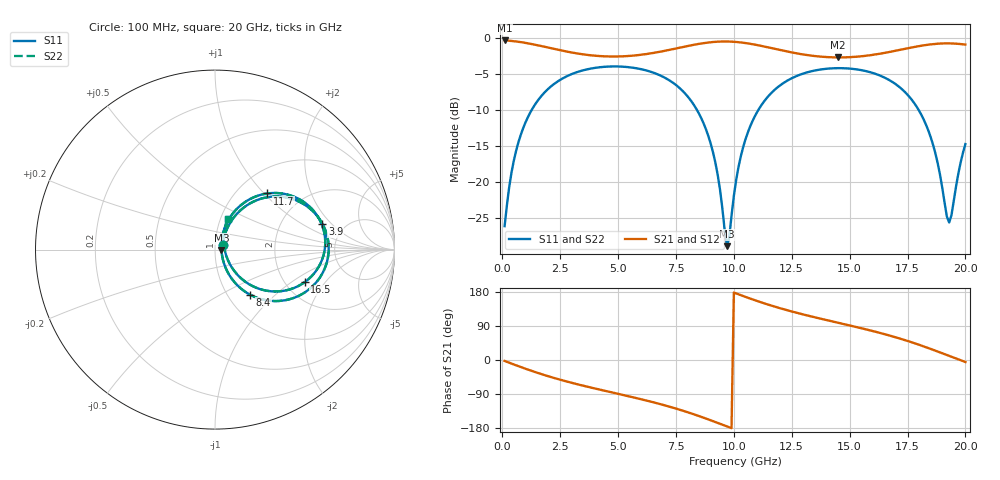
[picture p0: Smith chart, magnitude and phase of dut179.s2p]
! Touchstone file exported from HFSS 2026.1.0
!  File:  C:/ffzhzh/LocalFiles/Ansys_Project_Files/temp_train_TSV_RDL_179_1783056523_36532.aedt
!  Generated:  01:51:07 PM Jul  3, 2026
!  Design:  TSV_RDL
!  Project:  temp_train_TSV_RDL_179_1783056523_36532
! Variables:
!  h_bsmrdl = 2.33um
!  h_ox = 20um
!  h_rdl = 5um
!  h_sub = 75.29um
!  h_tmrdl = 5.93um
!  h_tsv = 75.29um
!  h_via = 3um
!  l_bsmrdl = 978.32um
!  l_sub = 6134um
!  l_tmrdl = 671.14um
!  m_sub = 200um
!  pitch = 55.44um
!  r_tsv = 2.21um
!  s_tmrdl = 10um
!  w_bsmrdl = 26.99um
!  w_sub = 500um
!  w_tmrdl = 11.17um
!  x_tsv_center1 = 676.725um
!  x_tsv_center2 = 1682.035um
!  x_tsv_center3 = 2364.345um
!  x_tsv_center4 = 3369.655um
!  x_tsv_center5 = 4051.965um
!  x_tsv_center6 = 5057.275um
# GHz S MA R 50.000000
! Terminal data exported
! Port[1] = TM_RDL1_1_T1
! Port[2] = TM_RDL5_1_T1
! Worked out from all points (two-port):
!   200 points, 100 MHz to 20 GHz, reference 50 ohm
!   highest |S21| = -0.37 dB at 100 MHz (marker M1); lowest = -2.7 dB at 14.5 GHz (marker M2)
!   |S21| within 3 dB of the highest: start of sweep to end of sweep
!   lowest |S11| = -28.9 dB at 9.7 GHz (marker M3), VSWR 1.07, Z = 53.7 - j0.324 ohm
!   |S11| at or under -10 dB: start of sweep to 1.269 GHz; 8.409 GHz to 11.06 GHz (2.648 GHz wide, 27.2 % of centre); 17.98 GHz to end of sweep
!   |S22| runs from -28.8 to -4.0 dB; largest |S21 - S12| = 1.8e-14
!   S11 on the Smith chart (normalised r, x): 100 MHz: 1.09, +0.06; 3.9 GHz: 3.41, +1.58; 8.4 GHz: 1.26, -0.71; 11.7 GHz: 1.36, +1.04; 16.5 GHz: 2.53, -1.28; 20 GHz: 1.08, +0.38
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0.1  0.04966 32.1  0.9587 -2.4  0.9587 -2.4  0.04966 32.1
! Gamma 0 0 0 0
! Port Impedance 50 0 50 0
0.5  0.1417 60.2  0.9472 -11.8  0.9472 -11.8  0.1417 60.2
1.1  0.281 55.8  0.9164 -25.1  0.9164 -25.1  0.2809 55.8
2.2  0.4743 38.4  0.8403 -46.8  0.8403 -46.8  0.4743 38.4
3.5  0.5963 19.0  0.7678 -67.9  0.7678 -67.9  0.5963 19.0
3.9  0.6155 13.6  0.7545 -73.8  0.7545 -73.8  0.6155 13.6
5.4  0.6275 -6.3  0.7474 -94.9  0.7474 -94.9  0.6275 -6.3
6.8  0.5509 -26.1  0.8002 -116.0  0.8002 -116.0  0.5509 -26.0
8.4  0.3181 -52.1  0.9024 -145.9  0.9024 -145.9  0.3181 -52.1
9.2  0.1373 -60.6  0.9378 -163.6  0.9378 -163.6  0.1373 -60.6
9.7  0.0361 -4.8  0.9429 -175.2  0.9429 -175.2  0.03614 -4.8
10.1  0.1035 64.0  0.936 175.6  0.936 175.6  0.1035 64.0
10.7  0.2424 62.8  0.9096 162.2  0.9096 162.2  0.2424 62.7
11.7  0.4273 47.0  0.8434 142.0  0.8434 142.0  0.4273 47.0
13.4  0.5893 21.7  0.7509 114.1  0.7509 114.1  0.5893 21.7
14.5  0.6165 7.2  0.7315 98.3  0.7315 98.3  0.6165 7.2
16.5  0.5312 -20.0  0.7856 68.4  0.7856 68.4  0.5312 -20.0
16.7  0.5112 -23.0  0.7966 65.0  0.7966 65.0  0.5112 -22.9
18.3  0.25 -46.5  0.8918 33.7  0.8918 33.7  0.2501 -46.4
18.7  0.1594 -48.0  0.9074 24.7  0.9074 24.7  0.1595 -47.8
19.3  0.05264 11.2  0.915 10.8  0.915 10.8  0.05306 11.2
20  0.1837 67.5  0.8973 -5.3  0.8973 -5.3  0.1839 67.4
